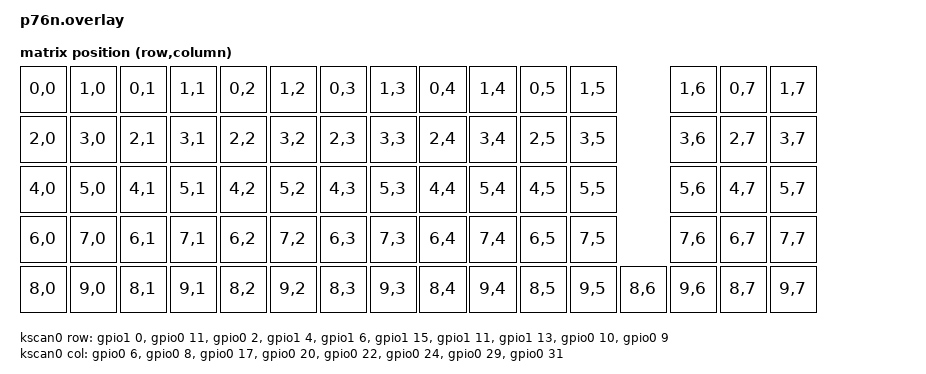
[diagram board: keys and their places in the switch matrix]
/*
 * Copyright (c) 2020 The ZMK Contributors
 *
 * SPDX-License-Identifier: MIT
 */

#include <dt-bindings/zmk/matrix_transform.h>
#include "layouts.dtsi"

/ {
	chosen {
		zmk,kscan = &kscan0;
        zmk,physical-layout = &physical_layout0;
	};

	kscan0: kscan {
		compatible = "zmk,kscan-gpio-matrix";
		label = "KSCAN";
		wakeup-source;

		diode-direction = "col2row";
		col-gpios
			= <&gpio0 6 GPIO_ACTIVE_HIGH>
			, <&gpio0 8 GPIO_ACTIVE_HIGH>
			, <&gpio0 17 GPIO_ACTIVE_HIGH>
			, <&gpio0 20 GPIO_ACTIVE_HIGH>
			, <&gpio0 22 GPIO_ACTIVE_HIGH>
			, <&gpio0 24 GPIO_ACTIVE_HIGH>
			, <&gpio0 29 GPIO_ACTIVE_HIGH>
			, <&gpio0 31 GPIO_ACTIVE_HIGH>
			;
		row-gpios
			= <&gpio1 0 (GPIO_ACTIVE_HIGH | GPIO_PULL_DOWN)>
			, <&gpio0 11 (GPIO_ACTIVE_HIGH | GPIO_PULL_DOWN)>
			, <&gpio0 2 (GPIO_ACTIVE_HIGH | GPIO_PULL_DOWN)>
			, <&gpio1 4 (GPIO_ACTIVE_HIGH | GPIO_PULL_DOWN)>
			, <&gpio1 6 (GPIO_ACTIVE_HIGH | GPIO_PULL_DOWN)>
			, <&gpio1 15 (GPIO_ACTIVE_HIGH | GPIO_PULL_DOWN)>
			, <&gpio1 11 (GPIO_ACTIVE_HIGH | GPIO_PULL_DOWN)>
			, <&gpio1 13 (GPIO_ACTIVE_HIGH | GPIO_PULL_DOWN)>
			, <&gpio0 10 (GPIO_ACTIVE_HIGH | GPIO_PULL_DOWN)>
			, <&gpio0 9 (GPIO_ACTIVE_HIGH | GPIO_PULL_DOWN)>
			;
	};

	default_transform: keymap_transform_0 {
		compatible = "zmk,matrix-transform";
		columns = <8>;
		rows = <10>;
        map = <
        RC(0,0) RC(1,0) RC(0,1) RC(1,1) RC(0,2) RC(1,2) RC(0,3) RC(1,3) RC(0,4) RC(1,4) RC(0,5) RC(1,5)         RC(1,6) RC(0,7) RC(1,7)
        RC(2,0) RC(3,0) RC(2,1) RC(3,1) RC(2,2) RC(3,2) RC(2,3) RC(3,3) RC(2,4) RC(3,4) RC(2,5) RC(3,5)         RC(3,6) RC(2,7) RC(3,7)
        RC(4,0) RC(5,0) RC(4,1) RC(5,1) RC(4,2) RC(5,2) RC(4,3) RC(5,3) RC(4,4) RC(5,4) RC(4,5) RC(5,5)         RC(5,6) RC(4,7) RC(5,7)
        RC(6,0) RC(7,0) RC(6,1) RC(7,1) RC(6,2) RC(7,2) RC(6,3) RC(7,3) RC(6,4) RC(7,4) RC(6,5) RC(7,5)         RC(7,6) RC(6,7) RC(7,7)
        RC(8,0) RC(9,0) RC(8,1) RC(9,1) RC(8,2) RC(9,2) RC(8,3) RC(9,3) RC(8,4) RC(9,4) RC(8,5) RC(9,5) RC(8,6) RC(9,6) RC(8,7) RC(9,7)
		>;
	};
};
